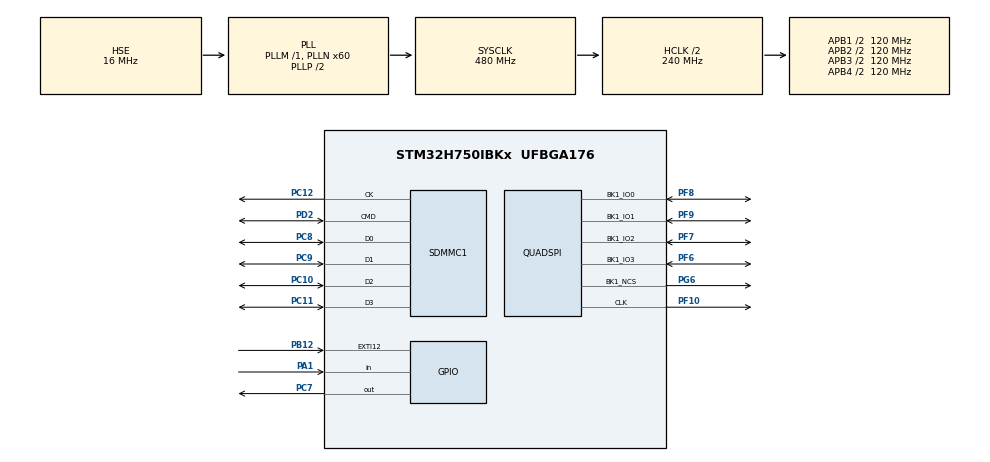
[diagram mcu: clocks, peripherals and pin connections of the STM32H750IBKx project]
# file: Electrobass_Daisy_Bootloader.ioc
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CORTEX_M7.CPU_DCache=Enabled
CORTEX_M7.CPU_ICache=Enabled
CORTEX_M7.default_mode_Activation=0
FATFS.BSP.number=1
FATFS.USE_DMA_CODE_SD=0
FATFS._FS_NORTC=0
FATFS._USE_FASTSEEK=0
FATFS._USE_FIND=1
FATFS._USE_LFN=1
FATFS0.BSP.STBoard=false
FATFS0.BSP.api=Unknown
FATFS0.BSP.instance=PA1
FATFS0.BSP.ip=GPIO
FATFS0.BSP.mode=Input
FATFS0.BSP.name=Detect_SDIO
FATFS0.BSP.solution=PA1
Mcu.Family=STM32H7
Mcu.Name=STM32H750IBKx
Mcu.Package=UFBGA176
NVIC.EXTI15_10_IRQn=true\:0\:0\:false\:false\:true\:true\:true\:true
NVIC.PriorityGroup=NVIC_PRIORITYGROUP_4
NVIC.SDMMC1_IRQn=true\:0\:0\:false\:false\:true\:true\:true\:true
PA1.GPIO_PuPd=GPIO_PULLUP
PA1.Signal=GPIO_Input
PA13\ (JTMS/SWDIO).Mode=Trace_Asynchronous_SW
PA13\ (JTMS/SWDIO).Signal=DEBUG_JTMS-SWDIO
PA14\ (JTCK/SWCLK).Mode=Trace_Asynchronous_SW
PA14\ (JTCK/SWCLK).Signal=DEBUG_JTCK-SWCLK
PA5.Signal=COMP_DAC12_group
PB12.GPIO_ModeDefaultEXTI=GPIO_MODE_IT_RISING_FALLING
PB12.Signal=GPXTI12
PB14.Signal=USB_OTG_HS_DM
PB15.Signal=USB_OTG_HS_DP
PB3\ (JTDO/TRACESWO).Mode=Trace_Asynchronous_SW
PB3\ (JTDO/TRACESWO).Signal=DEBUG_JTDO-SWO
PC10.GPIO_PuPd=GPIO_PULLUP
PC10.Mode=SD_4_bits_Wide_bus
PC10.Signal=SDMMC1_D2
PC11.GPIO_PuPd=GPIO_PULLUP
PC11.Mode=SD_4_bits_Wide_bus
PC11.Signal=SDMMC1_D3
PC12.GPIO_PuPd=GPIO_PULLUP
PC12.Mode=SD_4_bits_Wide_bus
PC12.Signal=SDMMC1_CK
PC7.Signal=GPIO_Output
PC8.GPIO_PuPd=GPIO_PULLUP
PC8.Mode=SD_4_bits_Wide_bus
PC8.Signal=SDMMC1_D0
PC9.GPIO_PuPd=GPIO_PULLUP
PC9.Mode=SD_4_bits_Wide_bus
PC9.Signal=SDMMC1_D1
PD2.GPIO_PuPd=GPIO_PULLUP
PD2.Mode=SD_4_bits_Wide_bus
PD2.Signal=SDMMC1_CMD
PF10.GPIO_Speed=GPIO_SPEED_FREQ_VERY_HIGH
PF10.Mode=Single Bank 1
PF10.Signal=QUADSPI_CLK
PF6.GPIO_Speed=GPIO_SPEED_FREQ_VERY_HIGH
PF6.Mode=Single Bank 1
PF6.Signal=QUADSPI_BK1_IO3
PF7.GPIO_Speed=GPIO_SPEED_FREQ_VERY_HIGH
PF7.Mode=Single Bank 1
PF7.Signal=QUADSPI_BK1_IO2
PF8.GPIO_Speed=GPIO_SPEED_FREQ_VERY_HIGH
PF8.Mode=Single Bank 1
PF8.Signal=QUADSPI_BK1_IO0
PF9.GPIO_Speed=GPIO_SPEED_FREQ_VERY_HIGH
PF9.Mode=Single Bank 1
PF9.Signal=QUADSPI_BK1_IO1
PG6.GPIO_Speed=GPIO_SPEED_FREQ_VERY_HIGH
PG6.Mode=Single Bank 1
PG6.Signal=QUADSPI_BK1_NCS
PH0-OSC_IN\ (PH0).Mode=HSE-External-Oscillator
PH0-OSC_IN\ (PH0).Signal=RCC_OSC_IN
PH1-OSC_OUT\ (PH1).Mode=HSE-External-Oscillator
PH1-OSC_OUT\ (PH1).Signal=RCC_OSC_OUT
ProjectManager.HeapSize=0x2000
ProjectManager.StackSize=0x4000
ProjectManager.TargetToolchain=STM32CubeIDE
QUADSPI.ClockPrescaler=1
QUADSPI.FlashSize=19
RCC.ADCCLockSelection=RCC_ADCCLKSOURCE_PLL3
RCC.ADCFreq_Value=12288085.9375
RCC.APB1Freq_Value=120000000
RCC.APB2Freq_Value=120000000
RCC.APB3Freq_Value=120000000
RCC.APB4Freq_Value=120000000
RCC.CKPERSourceSelection=RCC_CLKPSOURCE_HSE
RCC.CortexFreq_Value=480000000
RCC.D1PPRE=RCC_APB3_DIV2
RCC.D2PPRE1=RCC_APB1_DIV2
RCC.D2PPRE2=RCC_APB2_DIV2
RCC.D3PPRE=RCC_APB4_DIV2
RCC.DIVM1=1
RCC.DIVM2=1
RCC.DIVM3=1
RCC.DIVN1=60
RCC.DIVN2=12
RCC.DIVN3=12
RCC.DIVP2=8
RCC.DIVP3=4
RCC.DIVQ1=6
RCC.DIVQ3=8
RCC.DIVR1=8
RCC.DIVR3=16
RCC.FMCCLockSelection=RCC_FMCCLKSOURCE_PLL2
RCC.HCLKFreq_Value=240000000
RCC.HPRE=RCC_HCLK_DIV2
RCC.HSE_VALUE=16000000
RCC.PLL2FRACN=4096
RCC.PLL3FRACN=2360
RCC.PLLFRACN=0
RCC.PLLSourceVirtual=RCC_PLLSOURCE_HSE
RCC.QSPICLockSelection=RCC_QSPICLKSOURCE_PLL
RCC.SAI1CLockSelection=RCC_SAI1CLKSOURCE_PLL3
RCC.SAI23CLockSelection=RCC_SAI23CLKSOURCE_PLL3
RCC.SDMMC1CLockSelection=RCC_SDMMCCLKSOURCE_PLL2
RCC.SYSCLKFreq_VALUE=480000000
RCC.SYSCLKSource=RCC_SYSCLKSOURCE_PLLCLK
RCC.USBCLockSelection=RCC_USBCLKSOURCE_HSI48
RCC.USBFreq_Value=48000000
SDMMC1.ClockDiv=25
SDMMC1.USE_SD_TRANSCEIVER=0U
SH.COMP_DAC12_group.0=DAC1_OUT2
VP_FATFS_VS_SDIO.Mode=SDIO
board=custom

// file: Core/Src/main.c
/* USER CODE BEGIN Header */
/**
  ******************************************************************************
  * @file           : main.c
  * @brief          : Main program body
  ******************************************************************************
  * @attention
  *
  * Copyright (c) 2022 STMicroelectronics.
  * All rights reserved.
  *
  * This software is licensed under terms that can be found in the LICENSE file
  * in the root directory of this software component.
  * If no LICENSE file comes with this software, it is provided AS-IS.
  *
  ******************************************************************************
  */
/* USER CODE END Header */
#include "main.h"
#include "fatfs.h"
#include "quadspi.h"
#include "sdmmc.h"
#include "gpio.h"

/* USER CODE BEGIN Includes */
#include "flash.h"
/* USER CODE END Includes */

/* USER CODE BEGIN PD */
#define QSPI_START  0x90000000
/* USER CODE END PD */

void SystemClock_Config(void);
/* USER CODE BEGIN PFP */
static void MPU_Config (void);
static void FS_FileOperations(void);
void qspi_initialize(uint8_t mode);

void qspi_enable_memory_mapped();
/* USER CODE END PFP */

/* USER CODE BEGIN 0 */
FILINFO fno;
DIR dir;

uint8_t tempBinaryBuffer[500000] __ATTR_SRAM;
UINT bytesRead = 0;
uint32_t binSize = 4000;
uint8_t flash_mem[500000] __ATTR_QSPI;
uint8_t volatile bootloaderFlag[32] __ATTR_USER_FLASH;

/* Private typedef -----------------------------------------------------------*/
typedef  void (*pFunction)(void);
/* Private define ------------------------------------------------------------*/
/* Private macro -------------------------------------------------------------*/
/* Private variables ---------------------------------------------------------*/
pFunction JumpToApplication;

#define APPLICATION_ADDRESS (uint32_t)0x24000000
uint8_t memory_already_mapped = 0;

void FlushECC(void *ptr, int bytes)
{

	uint32_t addr = (uint32_t)ptr;
	/* Check if accessing AXI SRAM => 64-bit words*/
	if(addr >= 0x24000000 && addr < 0x24080000){
		volatile uint64_t temp;
		volatile uint64_t* flush_ptr = (uint64_t*) (addr & 0xFFFFFFF8);
		uint64_t *end_ptr = (uint64_t*) ((addr+bytes) & 0xFFFFFFF8);

		do{
			temp = *flush_ptr;
			*flush_ptr = temp;
			flush_ptr++;
		}while(flush_ptr != end_ptr);
	}
	/* Otherwise 32-bit words */
	else {
		volatile uint32_t temp;
		volatile uint32_t* flush_ptr = (uint32_t*) (addr & 0xFFFFFFFC);
		uint32_t *end_ptr = (uint32_t*) ((addr+bytes) & 0xFFFFFFFC);

		do{
			temp = *flush_ptr;
			*flush_ptr = temp;
			flush_ptr++;
		}while(flush_ptr != end_ptr);
	}
}

uint8_t BSP_SD_IsDetected(void)
{
  __IO uint8_t status = SD_PRESENT;

  if (BSP_PlatformIsDetected() == 0x0)
  {
    status = SD_NOT_PRESENT;
  }

  return status;
}

/* USER CODE END 0 */

int main(void)
{

  /* Enable I-Cache---------------------------------------------------------*/
  //SCB_EnableICache();

  /* Enable D-Cache---------------------------------------------------------*/
  //SCB_EnableDCache();

  /* MCU Configuration--------------------------------------------------------*/

  /* Reset of all peripherals, Initializes the Flash interface and the Systick. */
  HAL_Init();

  /* Configure the system clock */
  SystemClock_Config();

  /* Initialize all configured peripherals */
  MX_GPIO_Init();
  //
  /* Disable I-Cache */
  //SCB_DisableICache();

  ///* Disable D-Cache */
  //SCB_DisableDCache();
  /* Enable write access to Backup domain */
   PWR->CR1 |= PWR_CR1_DBP;
   while((PWR->CR1 & PWR_CR1_DBP) == RESET)
   {
	   ;
   }
   /*Enable BKPRAM clock*/
   __HAL_RCC_BKPRAM_CLK_ENABLE();

  //if (*(__IO uint32_t*)(0x38800000+36) != 12345678)
  if (bootloaderFlag[0] != 231)
  {
	  int i = 6;
	  while(i--)
	  {
		  HAL_GPIO_TogglePin(GPIOC, GPIO_PIN_7);
		  HAL_Delay(20);
	  }
	  MX_QUADSPI_Init();
	  qspi_initialize(INDIRECT_POLLING);
	  if (!memory_already_mapped)
	  {
		  qspi_enable_memory_mapped();
	  }
	  //copy qspi flash code into SRAM location on every boot.
	  for (int i = 0; i < 500000; i++)
	  {
		  tempBinaryBuffer[i] = flash_mem[i];
	  }

	  HAL_GPIO_TogglePin(GPIOC, GPIO_PIN_7);
	  JumpToApplication = (pFunction) (*(__IO uint32_t*) (APPLICATION_ADDRESS+4));
	  __set_MSP(*(__IO uint32_t*) APPLICATION_ADDRESS);
	  __disable_irq();

	  HAL_RCC_DeInit();
	  HAL_DeInit();
	  SysTick->CTRL = 0;
	  SysTick->LOAD = 0;
	  SysTick->VAL  = 0;

	  JumpToApplication();
  }
  else
  {
	  int i = 6;
	  while(i--)
	  {
		  HAL_GPIO_TogglePin(GPIOC, GPIO_PIN_7);
		  HAL_Delay(200);
	  }
	  MX_QUADSPI_Init();
	  MX_SDMMC1_SD_Init();
	  MX_FATFS_Init();
	  /* USER CODE BEGIN 2 */
	  qspi_initialize(INDIRECT_POLLING);
	  if(BSP_SD_IsDetected())
	  {
		 // HAL_GPIO_WritePin(GPIOC, GPIO_PIN_7, GPIO_PIN_SET);
		  FS_FileOperations();
	  }
	  else
	  {

		  //HAL_GPIO_WritePin(GPIOC, GPIO_PIN_7, GPIO_PIN_RESET);
	  }

	  if (!memory_already_mapped)
	  {
		  qspi_enable_memory_mapped();
	  }
	  //copy qspi flash code into SRAM location on every boot.
	  for (int i = 0; i < 500000; i++)
	  {
		  tempBinaryBuffer[i] = flash_mem[i];
	  }
	  HAL_QSPI_MspDeInit(&hqspi);
	  HAL_SD_MspDeInit(&hsd1);
	  HAL_RCC_DeInit();
	  HAL_DeInit();
	  SysTick->CTRL = 0;
	  SysTick->LOAD = 0;
	  SysTick->VAL  = 0;

	  for (int i = 0; i < 32; i++)
	  {
		  bootloaderFlag[i] = 232;
	  }
	  FlushECC(&bootloaderFlag,  32);

	  HAL_NVIC_SystemReset();
	  //JumpToApplication = (pFunction) (*(__IO uint32_t*) (APPLICATION_ADDRESS+4));
	  //__set_MSP(*(__IO uint32_t*) APPLICATION_ADDRESS);
	  //*(__IO uint32_t*)(0x38800000+36) = 0;
	  //__disable_irq();
	  //JumpToApplication();
  }

  /* USER CODE END 2 */

  /* Infinite loop */
  /* USER CODE BEGIN WHILE */
  while (1)
  {

	  //HAL_GPIO_TogglePin(GPIOC, GPIO_PIN_7);
	  //HAL_Delay(200);
    /* USER CODE END WHILE */

  }
}

void SystemClock_Config(void)
{
  RCC_OscInitTypeDef RCC_OscInitStruct = {0};
  RCC_ClkInitTypeDef RCC_ClkInitStruct = {0};

  /** Supply configuration update enable
  */
  HAL_PWREx_ConfigSupply(PWR_LDO_SUPPLY);

  /** Configure the main internal regulator output voltage
  */
  __HAL_PWR_VOLTAGESCALING_CONFIG(PWR_REGULATOR_VOLTAGE_SCALE1);

  while(!__HAL_PWR_GET_FLAG(PWR_FLAG_VOSRDY)) {}

  __HAL_RCC_SYSCFG_CLK_ENABLE();
  __HAL_PWR_VOLTAGESCALING_CONFIG(PWR_REGULATOR_VOLTAGE_SCALE0);

  while(!__HAL_PWR_GET_FLAG(PWR_FLAG_VOSRDY)) {}

  /** Macro to configure the PLL clock source
  */
  __HAL_RCC_PLL_PLLSOURCE_CONFIG(RCC_PLLSOURCE_HSE);

  /** Initializes the RCC Oscillators according to the specified parameters
  * in the RCC_OscInitTypeDef structure.
  */
  RCC_OscInitStruct.OscillatorType = RCC_OSCILLATORTYPE_HSE;
  RCC_OscInitStruct.HSEState = RCC_HSE_ON;
  RCC_OscInitStruct.PLL.PLLState = RCC_PLL_ON;
  RCC_OscInitStruct.PLL.PLLSource = RCC_PLLSOURCE_HSE;
  RCC_OscInitStruct.PLL.PLLM = 1;
  RCC_OscInitStruct.PLL.PLLN = 60;
  RCC_OscInitStruct.PLL.PLLP = 2;
  RCC_OscInitStruct.PLL.PLLQ = 6;
  RCC_OscInitStruct.PLL.PLLR = 8;
  RCC_OscInitStruct.PLL.PLLRGE = RCC_PLL1VCIRANGE_3;
  RCC_OscInitStruct.PLL.PLLVCOSEL = RCC_PLL1VCOWIDE;
  RCC_OscInitStruct.PLL.PLLFRACN = 0;
  if (HAL_RCC_OscConfig(&RCC_OscInitStruct) != HAL_OK)
  {
    Error_Handler();
  }

  /** Initializes the CPU, AHB and APB buses clocks
  */
  RCC_ClkInitStruct.ClockType = RCC_CLOCKTYPE_HCLK|RCC_CLOCKTYPE_SYSCLK
                              |RCC_CLOCKTYPE_PCLK1|RCC_CLOCKTYPE_PCLK2
                              |RCC_CLOCKTYPE_D3PCLK1|RCC_CLOCKTYPE_D1PCLK1;
  RCC_ClkInitStruct.SYSCLKSource = RCC_SYSCLKSOURCE_PLLCLK;
  RCC_ClkInitStruct.SYSCLKDivider = RCC_SYSCLK_DIV1;
  RCC_ClkInitStruct.AHBCLKDivider = RCC_HCLK_DIV2;
  RCC_ClkInitStruct.APB3CLKDivider = RCC_APB3_DIV2;
  RCC_ClkInitStruct.APB1CLKDivider = RCC_APB1_DIV2;
  RCC_ClkInitStruct.APB2CLKDivider = RCC_APB2_DIV2;
  RCC_ClkInitStruct.APB4CLKDivider = RCC_APB4_DIV2;

  if (HAL_RCC_ClockConfig(&RCC_ClkInitStruct, FLASH_LATENCY_4) != HAL_OK)
  {
    Error_Handler();
  }
}

/* USER CODE BEGIN 4 */

void qspi_error(void)
{
	HAL_GPIO_WritePin(GPIOC, GPIO_PIN_7, GPIO_PIN_SET);
}

int AutopollingMemReady(int timeout)
{
	 int ok = 0;
	QSPI_CommandTypeDef     s_command;
	    QSPI_AutoPollingTypeDef s_config;

	    /* Configure automatic polling mode to wait for memory ready */
	    s_command.InstructionMode   = QSPI_INSTRUCTION_1_LINE;
	    s_command.Instruction       = READ_STATUS_REG_CMD;
	    s_command.AddressMode       = QSPI_ADDRESS_NONE;
	    s_command.AlternateByteMode = QSPI_ALTERNATE_BYTES_NONE;
	    s_command.DataMode          = QSPI_DATA_1_LINE;
	    s_command.DummyCycles       = 0;
	    s_command.DdrMode           = QSPI_DDR_MODE_DISABLE;
	    s_command.DdrHoldHalfCycle  = QSPI_DDR_HHC_ANALOG_DELAY;
	    s_command.SIOOMode          = QSPI_SIOO_INST_EVERY_CMD;

	    s_config.Match         = 0;
	    s_config.MatchMode     = QSPI_MATCH_MODE_AND;
	    s_config.Interval      = 0x10;
	    s_config.AutomaticStop = QSPI_AUTOMATIC_STOP_ENABLE;
	    s_config.Mask          = IS25LP064A_SR_WIP;
	    //s_config.Mask            = 0;
	    s_config.StatusBytesSize = 1;

	    if(HAL_QSPI_AutoPolling(&hqspi, &s_command, &s_config, timeout)
	       != HAL_OK)
	    {
	    	qspi_error();
	    }

	    ok= 1;
	    return ok;

}

int qspi_WriteEnable()
{
	 int ok = 0;
	QSPI_CommandTypeDef     s_command;
	    QSPI_AutoPollingTypeDef s_config;

	    /* Enable write operations */
	    s_command.InstructionMode   = QSPI_INSTRUCTION_1_LINE;
	    s_command.Instruction       = WRITE_ENABLE_CMD;
	    s_command.AddressMode       = QSPI_ADDRESS_NONE;
	    s_command.AlternateByteMode = QSPI_ALTERNATE_BYTES_NONE;
	    s_command.DataMode          = QSPI_DATA_NONE;
	    s_command.DummyCycles       = 0;
	    s_command.DdrMode           = QSPI_DDR_MODE_DISABLE;
	    s_command.DdrHoldHalfCycle  = QSPI_DDR_HHC_ANALOG_DELAY;
	    s_command.SIOOMode          = QSPI_SIOO_INST_EVERY_CMD;

	    //RETURN_IF_ERR(CheckProgramMemory());

	    if(HAL_QSPI_Command(&hqspi, &s_command, HAL_QPSI_TIMEOUT_DEFAULT_VALUE)
	       != HAL_OK)
	    {
	    	qspi_error();
	    }

	    /* Configure automatic polling mode to wait for write enabling */
	    //        s_config.Match           = IS25LP080D_SR_WREN | (IS25LP080D_SR_WREN << 8);
	    //        s_config.Mask            = IS25LP080D_SR_WREN | (IS25LP080D_SR_WREN << 8);
	    s_config.MatchMode       = QSPI_MATCH_MODE_AND;
	    s_config.Match           = IS25LP064A_SR_WREN;
	    s_config.Mask            = IS25LP064A_SR_WREN;
	    s_config.Interval        = 0x10;
	    s_config.StatusBytesSize = 1;
	    s_config.AutomaticStop   = QSPI_AUTOMATIC_STOP_ENABLE;

	    s_command.Instruction = READ_STATUS_REG_CMD;
	    s_command.DataMode    = QSPI_DATA_1_LINE;

	    if(HAL_QSPI_AutoPolling(
	           &hqspi, &s_command, &s_config, HAL_QPSI_TIMEOUT_DEFAULT_VALUE)
	       != HAL_OK)
	    {
	    	qspi_error();
	    }

	    ok= 1;
	    return ok;

}

void qspi_reset_memory(void)
{
	//reset memory
		QSPI_CommandTypeDef s_command;

		    /* Initialize the reset enable command */
		    s_command.InstructionMode   = QSPI_INSTRUCTION_1_LINE;
		    s_command.Instruction       = RESET_ENABLE_CMD;
		    s_command.AddressMode       = QSPI_ADDRESS_NONE;
		    s_command.AlternateByteMode = QSPI_ALTERNATE_BYTES_NONE;
		    s_command.DataMode          = QSPI_DATA_NONE;
		    s_command.DummyCycles       = 0;
		    s_command.DdrMode           = QSPI_DDR_MODE_DISABLE;
		    s_command.DdrHoldHalfCycle  = QSPI_DDR_HHC_ANALOG_DELAY;
		    s_command.SIOOMode          = QSPI_SIOO_INST_EVERY_CMD;

		    /* Send the command */
		    if(HAL_QSPI_Command(&hqspi, &s_command, HAL_QPSI_TIMEOUT_DEFAULT_VALUE)
		       != HAL_OK)
		    {
		    	qspi_error();
		    }

		    /* Send the reset memory command */
		    s_command.Instruction = RESET_MEMORY_CMD;
		    if(HAL_QSPI_Command(&hqspi, &s_command, HAL_QPSI_TIMEOUT_DEFAULT_VALUE)
		       != HAL_OK)
		    {
		    	qspi_error();
		    }

		    /* Configure automatic polling mode to wait the memory is ready */
		    if(AutopollingMemReady(HAL_QPSI_TIMEOUT_DEFAULT_VALUE)
		       != 1)
		    {
		    	qspi_error();
		    }

}

void qspi_dummy_cycles_config()
{
	 QSPI_CommandTypeDef s_command;
	    uint16_t            reg     = 0;
	    s_command.InstructionMode   = QSPI_INSTRUCTION_1_LINE;
	    s_command.AddressMode       = QSPI_ADDRESS_NONE;
	    s_command.AlternateByteMode = QSPI_ALTERNATE_BYTES_NONE;
	    s_command.DataMode          = QSPI_DATA_1_LINE;
	    s_command.DummyCycles       = 0;
	    s_command.NbData            = 1;
	    s_command.DdrMode           = QSPI_DDR_MODE_DISABLE;
	    s_command.DdrHoldHalfCycle  = QSPI_DDR_HHC_ANALOG_DELAY;
	    s_command.SIOOMode          = QSPI_SIOO_INST_EVERY_CMD;
	    // Only volatile Read Params on 16MB chip.
	           // Explicitly set:
	           // Burst Length: 8 bytes (0, 0)
	           // Wrap Enable: 0
	           // Dummy Cycles: (Config 3, bits 1 0)
	           // Drive Strength (50%, bits 1 1 1)
	           // Byte to write: 0b11110000 (0xF0)
	           // TODO: Probably expand Burst to maximum if that works out.

	           reg = 0xF0;
	           /* Update volatile configuration register (with new dummy cycles) */
	             s_command.Instruction = WRITE_READ_PARAM_REG_CMD;
	             /* Configure the write volatile configuration register command */
	             if(HAL_QSPI_Command(&hqspi, &s_command, HAL_QPSI_TIMEOUT_DEFAULT_VALUE)
	                != HAL_OK)
	             {
	            	 qspi_error();
	             }

	             /* Transmission of the data */
	             if(HAL_QSPI_Transmit(
	                    &hqspi, (uint8_t*)(&reg), HAL_QPSI_TIMEOUT_DEFAULT_VALUE)
	                != HAL_OK)
	             {
	            	 qspi_error();
	             }

	             /* Configure automatic polling mode to wait the memory is ready */
	             if(AutopollingMemReady(HAL_QPSI_TIMEOUT_DEFAULT_VALUE)
	                != 1)
	             {
	            	 qspi_error();
	             }
}

void qspi_quad_enable()
{
	 QSPI_CommandTypeDef     s_command;
	    QSPI_AutoPollingTypeDef s_config;
	    uint8_t                 reg = 0;

	    /* Enable write operations */
	    s_command.InstructionMode   = QSPI_INSTRUCTION_1_LINE;
	    s_command.Instruction       = WRITE_STATUS_REG_CMD;
	    s_command.AddressMode       = QSPI_ADDRESS_NONE;
	    s_command.AlternateByteMode = QSPI_ALTERNATE_BYTES_NONE;
	    s_command.DataMode          = QSPI_DATA_1_LINE;
	    s_command.DummyCycles       = 0;
	    s_command.NbData            = 1;
	    s_command.DdrMode           = QSPI_DDR_MODE_DISABLE;
	    s_command.DdrHoldHalfCycle  = QSPI_DDR_HHC_ANALOG_DELAY;
	    s_command.SIOOMode          = QSPI_SIOO_INST_EVERY_CMD;

	    /* Enable write operations */
	    if(qspi_WriteEnable() != 1)
	    {
	    	qspi_error();
	    }

	    if(HAL_QSPI_Command(&hqspi, &s_command, HAL_QPSI_TIMEOUT_DEFAULT_VALUE)
	       != HAL_OK)
	    {
	    	qspi_error();
	    }

	    //    reg = 0;
	    //    MODIFY_REG(reg,
	    //        0xF0,
	    //        (IS25LP08D_SR_QE));
	    reg = IS25LP064A_SR_QE; // Set QE bit  to 1
	    /* Transmission of the data */
	    if(HAL_QSPI_Transmit(
	           &hqspi, (uint8_t*)(&reg), HAL_QPSI_TIMEOUT_DEFAULT_VALUE)
	       != HAL_OK)
	    {
	    	qspi_error();
	    }

	    /* Configure automatic polling mode to wait for write enabling */
	    //    s_config.Match           = IS25LP08D_SR_WREN | (IS25LP08D_SR_WREN << 8);
	    //    s_config.Mask            = IS25LP08D_SR_WREN | (IS25LP08D_SR_WREN << 8);
	    //    s_config.MatchMode       = QSPI_MATCH_MODE_AND;
	    //    s_config.StatusBytesSize = 2;
	    s_config.Match           = IS25LP064A_SR_QE;
	    s_config.Mask            = IS25LP064A_SR_QE;
	    s_config.MatchMode       = QSPI_MATCH_MODE_AND;
	    s_config.StatusBytesSize = 1;

	    s_config.Interval      = 0x10;
	    s_config.AutomaticStop = QSPI_AUTOMATIC_STOP_ENABLE;

	    s_command.Instruction = READ_STATUS_REG_CMD;
	    s_command.DataMode    = QSPI_DATA_1_LINE;

	    if(HAL_QSPI_AutoPolling(
	           &hqspi, &s_command, &s_config, HAL_QPSI_TIMEOUT_DEFAULT_VALUE)
	       != HAL_OK)
	    {
	    	qspi_error();
	    }

	    /* Configure automatic polling mode to wait the memory is ready */
	    if(AutopollingMemReady(HAL_QPSI_TIMEOUT_DEFAULT_VALUE)
	       != 1)
	    {
	    	qspi_error();
	    }

}

void qspi_enable_memory_mapped()
{
	   QSPI_CommandTypeDef      s_command;
	    QSPI_MemoryMappedTypeDef s_mem_mapped_cfg;

	    /* Configure the command for the read instruction */
	    s_command.InstructionMode = QSPI_INSTRUCTION_1_LINE;
	    s_command.Instruction     = QUAD_INOUT_FAST_READ_CMD;
	    s_command.AddressMode     = QSPI_ADDRESS_4_LINES;
	    s_command.AddressSize     = QSPI_ADDRESS_24_BITS;
	    //    s_command.AlternateByteMode = QSPI_ALTERNATE_BYTES_NONE;
	    //s_command.DummyCycles       = IS25LP080D_DUMMY_CYCLES_READ_QUAD;
	    s_command.AlternateByteMode  = QSPI_ALTERNATE_BYTES_4_LINES;
	    s_command.AlternateBytesSize = QSPI_ALTERNATE_BYTES_8_BITS;
	    s_command.AlternateBytes     = 0x000000A0;
	    s_command.DummyCycles        = 6;
	    s_command.DdrMode            = QSPI_DDR_MODE_DISABLE;
	    s_command.DdrHoldHalfCycle   = QSPI_DDR_HHC_ANALOG_DELAY;
	    //s_command.SIOOMode          = QSPI_SIOO_INST_EVERY_CMD;
	    s_command.SIOOMode = QSPI_SIOO_INST_ONLY_FIRST_CMD;
	    s_command.DataMode = QSPI_DATA_4_LINES;

	    /* Configure the memory mapped mode */
	    s_mem_mapped_cfg.TimeOutActivation = QSPI_TIMEOUT_COUNTER_DISABLE;
	    s_mem_mapped_cfg.TimeOutPeriod     = 0;
	    uint32_t qspiresult = HAL_QSPI_MemoryMapped(&hqspi, &s_command, &s_mem_mapped_cfg);
	    if(qspiresult
	       != HAL_OK)
	    {
	    	qspi_error();
	    }
}

void qspi_initialize(uint8_t mode)
{
	HAL_QSPI_DeInit(&hqspi);
	HAL_QSPI_Init(&hqspi);

	qspi_reset_memory();
	qspi_dummy_cycles_config();
	qspi_quad_enable();
	if (mode == MEMORY_MAPPED)
	{
		qspi_enable_memory_mapped();
	}
}

void qspi_SetMode(uint8_t mode)
{
	if (mode == INDIRECT_POLLING)
	{
		//qspi_initialize(INDIRECT_POLLING);
	}
	else if (mode == MEMORY_MAPPED)
	{
		qspi_enable_memory_mapped();
	}

}

int qpsi_EraseSector(uint32_t address)
{
    int ok = 0;
	uint8_t             use_qpi = 0;
    QSPI_CommandTypeDef s_command;
    if(use_qpi)
    {
        s_command.InstructionMode = QSPI_INSTRUCTION_4_LINES;
        s_command.Instruction     = SECTOR_ERASE_QPI_CMD;
        s_command.AddressMode     = QSPI_ADDRESS_4_LINES;
    }
    else
    {
        s_command.InstructionMode = QSPI_INSTRUCTION_1_LINE;
        s_command.Instruction     = SECTOR_ERASE_CMD;
        s_command.AddressMode     = QSPI_ADDRESS_1_LINE;
    }
    s_command.AddressSize       = QSPI_ADDRESS_24_BITS;
    s_command.AlternateByteMode = QSPI_ALTERNATE_BYTES_NONE;
    s_command.DataMode          = QSPI_DATA_NONE;
    s_command.DummyCycles       = 0;
    s_command.NbData            = 1;
    s_command.DdrMode           = QSPI_DDR_MODE_DISABLE;
    s_command.DdrHoldHalfCycle  = QSPI_DDR_HHC_ANALOG_DELAY;
    s_command.SIOOMode          = QSPI_SIOO_INST_EVERY_CMD;
    s_command.Address           = address;

    // Erasing takes a long time anyway, so not much point trying to
    // minimize reinitializations
    qspi_SetMode(INDIRECT_POLLING);

    if(qspi_WriteEnable() != 1)
    {
    	qspi_error();
    }
    if(HAL_QSPI_Command(&hqspi, &s_command, HAL_QPSI_TIMEOUT_DEFAULT_VALUE)
       != HAL_OK)
    {
    	qspi_error();
    }
    if(AutopollingMemReady(HAL_QPSI_TIMEOUT_DEFAULT_VALUE)
       != 1)
    {
    	qspi_error();
    }

    //qspi_SetMode(MEMORY_MAPPED);

    ok= 1;
    return ok;

}

void qspi_Erase(uint32_t start_addr, uint32_t end_addr)
{
    uint32_t block_addr;
    uint32_t block_size = IS25LP064A_SECTOR_SIZE; // 4kB blocks for now.
    // 64kB chunks for now.
    start_addr = start_addr - (start_addr % block_size);
    while(end_addr > start_addr)
    {
        block_addr = start_addr & 0x0FFFFFFF;
        if(qpsi_EraseSector(block_addr) != 1)
        {
        	qspi_error();
        }
        start_addr += block_size;
    }
}

int qspi_WritePage(uint32_t address, uint32_t size, uint8_t* buffer, uint8_t     reset_mode)
{
	  //RETURN_IF_ERR(CheckProgramMemory());
	int ok = 0;

	qspi_SetMode(INDIRECT_POLLING);

	    QSPI_CommandTypeDef s_command;
	    s_command.InstructionMode   = QSPI_INSTRUCTION_1_LINE;
	    s_command.Instruction       = PAGE_PROG_CMD;
	    s_command.AddressMode       = QSPI_ADDRESS_1_LINE;
	    s_command.AddressSize       = QSPI_ADDRESS_24_BITS;
	    s_command.AlternateByteMode = QSPI_ALTERNATE_BYTES_NONE;
	    s_command.DataMode          = QSPI_DATA_1_LINE;
	    s_command.DummyCycles       = 0;
	    s_command.NbData            = size <= 256 ? size : 256;
	    s_command.DdrMode           = QSPI_DDR_MODE_DISABLE;
	    s_command.DdrHoldHalfCycle  = QSPI_DDR_HHC_ANALOG_DELAY;
	    s_command.SIOOMode          = QSPI_SIOO_INST_EVERY_CMD;
	    s_command.Address           = address;
	    if(qspi_WriteEnable() != 1)
	    {
	    	qspi_error();
	    }
	    if(HAL_QSPI_Command(&hqspi, &s_command, HAL_QPSI_TIMEOUT_DEFAULT_VALUE)
	       != HAL_OK)
	    {
	    	qspi_error();
	    }
	    if(HAL_QSPI_Transmit(
	           &hqspi, (uint8_t*)buffer, HAL_QPSI_TIMEOUT_DEFAULT_VALUE)
	       != HAL_OK)
	    {
	    	qspi_error();
	    }
	    if(AutopollingMemReady(HAL_QPSI_TIMEOUT_DEFAULT_VALUE)
	       != 1)
	    {
	    	qspi_error();
	    }

	    if(reset_mode)
	    	qspi_SetMode(MEMORY_MAPPED);

	    ok= 1;
	    return ok;

}

void qspi_Write(uint32_t address, uint32_t size, uint8_t* buffer)
{
	 uint32_t NumOfPage = 0, NumOfSingle = 0, Addr = 0, count = 0, temp = 0;
	    uint32_t QSPI_DataNum    = 0;
	    uint32_t flash_page_size = IS25LP064A_PAGE_SIZE;
	    address                  = address & 0x0FFFFFFF;
	    Addr                     = address % flash_page_size;
	    count                    = flash_page_size - Addr;
	    NumOfPage                = size / flash_page_size;
	    NumOfSingle              = size % flash_page_size;

	    if(Addr == 0) /*!< Address is QSPI_PAGESIZE aligned  */
	    {
	        if(NumOfPage == 0) /*!< NumByteToWrite < QSPI_PAGESIZE */
	        {
	            QSPI_DataNum = size;
	            qspi_WritePage(address, QSPI_DataNum, buffer, 0);
	        }
	        else /*!< Size > QSPI_PAGESIZE */
	        {
	            while(NumOfPage--)
	            {
	                QSPI_DataNum = flash_page_size;
	                qspi_WritePage(address, QSPI_DataNum, buffer, 0);
	                address += flash_page_size;
	                buffer += flash_page_size;
	            }

	            QSPI_DataNum = NumOfSingle;
	            if(QSPI_DataNum > 0)
	            	qspi_WritePage(address, QSPI_DataNum, buffer, 0);
	        }
	    }
	    else /*!< Address is not QSPI_PAGESIZE aligned  */
	    {
	        if(NumOfPage == 0) /*!< Size < QSPI_PAGESIZE */
	        {
	            if(NumOfSingle > count) /*!< (Size + Address) > QSPI_PAGESIZE */
	            {
	                temp         = NumOfSingle - count;
	                QSPI_DataNum = count;
	                qspi_WritePage(address, QSPI_DataNum, buffer, 0);
	                address += count;
	                buffer += count;
	                QSPI_DataNum = temp;
	                qspi_WritePage(address, QSPI_DataNum, buffer, 0);
	            }
	            else
	            {
	                QSPI_DataNum = size;
	                qspi_WritePage(address, QSPI_DataNum, buffer, 0);
	            }
	        }
	        else /*!< Size > QSPI_PAGESIZE */
	        {
	            size -= count;
	            NumOfPage    = size / flash_page_size;
	            NumOfSingle  = size % flash_page_size;
	            QSPI_DataNum = count;
	            qspi_WritePage(address, QSPI_DataNum, buffer, 0);
	            address += count;
	            buffer += count;

	            while(NumOfPage--)
	            {
	                QSPI_DataNum = flash_page_size;
	                qspi_WritePage(address, QSPI_DataNum, buffer, 0);
	                address += flash_page_size;
	                buffer += flash_page_size;
	            }

	            if(NumOfSingle != 0)
	            {
	                QSPI_DataNum = NumOfSingle;
	                qspi_WritePage(address, QSPI_DataNum, buffer, 0);
	            }
	        }
	    }

	    qspi_SetMode(MEMORY_MAPPED);

}

static void FS_FileOperations(void)
{
	HAL_Delay(300);
	disk_initialize(0);

    disk_status(0);
    //if (statusH != RES_OK)
    //{
      //ShowDiskStatus(status);
    //}

	if(f_mount(&SDFatFS,  SDPath, 1) == FR_OK)
	{

		FRESULT res;

		//search for .bin firmware files
		res = f_findfirst(&dir, &fno, SDPath, "*.bin");

		/* Repeat while an item is found */
		if (fno.fname[0])
		{
		  if(res == FR_OK)
		  {
				if(f_open(&SDFile, fno.fname, FA_OPEN_ALWAYS | FA_READ) == FR_OK)
				{

					//write to local SRAM, then copy that to QSPI flash for more permanent storage
					f_read(&SDFile, &tempBinaryBuffer, f_size(&SDFile), &bytesRead);

					if (bytesRead < 500000)
					{
						qspi_Erase(QSPI_START, QSPI_START+bytesRead);
						qspi_Write(QSPI_START, bytesRead,(uint8_t*)tempBinaryBuffer);
						HAL_GPIO_WritePin(GPIOC, GPIO_PIN_7, GPIO_PIN_SET);
						memory_already_mapped = 1;
					}

					f_close(&SDFile);

				}
			}

		  }

		f_closedir(&dir);
		f_mount(0, "", 0); //unmount
	}

}

static void MPU_Config (void)
{
  MPU_Region_InitTypeDef MPU_InitStruct;

  /* Disable the MPU */
  HAL_MPU_Disable();

  /* Configure the MPU as Strongly ordered for not defined regions */
  MPU_InitStruct.Enable = MPU_REGION_ENABLE;
  MPU_InitStruct.BaseAddress = 0x00;
  MPU_InitStruct.Size = MPU_REGION_SIZE_4GB;
  MPU_InitStruct.AccessPermission = MPU_REGION_FULL_ACCESS;
  MPU_InitStruct.IsBufferable = MPU_ACCESS_NOT_BUFFERABLE;
  MPU_InitStruct.IsCacheable = MPU_ACCESS_NOT_CACHEABLE;
  MPU_InitStruct.IsShareable = MPU_ACCESS_NOT_SHAREABLE;
  MPU_InitStruct.Number = MPU_REGION_NUMBER0;
  MPU_InitStruct.TypeExtField = MPU_TEX_LEVEL0;
  MPU_InitStruct.SubRegionDisable = 0x87;
  MPU_InitStruct.DisableExec = MPU_INSTRUCTION_ACCESS_ENABLE;

  HAL_MPU_ConfigRegion(&MPU_InitStruct);

  MPU_InitStruct.Enable = MPU_REGION_ENABLE;
  MPU_InitStruct.BaseAddress = 0x90000000;
  MPU_InitStruct.Size = MPU_REGION_SIZE_128MB;
  MPU_InitStruct.AccessPermission = MPU_REGION_FULL_ACCESS;
  MPU_InitStruct.IsBufferable = MPU_ACCESS_NOT_BUFFERABLE;
  MPU_InitStruct.IsCacheable = MPU_ACCESS_CACHEABLE;
  MPU_InitStruct.IsShareable = MPU_ACCESS_NOT_SHAREABLE;
  MPU_InitStruct.Number = MPU_REGION_NUMBER2;
  MPU_InitStruct.TypeExtField = MPU_TEX_LEVEL0;
  MPU_InitStruct.SubRegionDisable = 0x0;
  MPU_InitStruct.DisableExec = MPU_INSTRUCTION_ACCESS_ENABLE;
  HAL_MPU_ConfigRegion(&MPU_InitStruct);

  /* Enable the MPU */
  HAL_MPU_Enable(MPU_PRIVILEGED_DEFAULT);
}

/* USER CODE END 4 */

void Error_Handler(void)
{
  __disable_irq();
  while (1)
  {
  }
}
